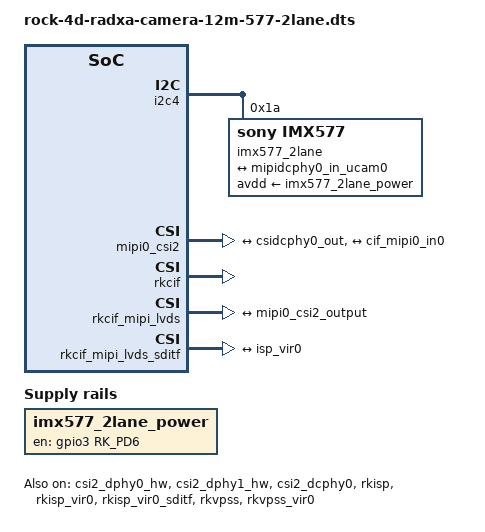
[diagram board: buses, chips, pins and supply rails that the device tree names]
/dts-v1/;
/plugin/;

#include <dt-bindings/power/rk3576-power.h>
#include <dt-bindings/gpio/gpio.h>
#include <dt-bindings/pinctrl/rockchip.h>

/ {
	metadata {
		title = "Enable Radxa Camera 12M 577 on 2-lane CSI (15-pin)";
		compatible = "radxa,rock-4d";
		category = "camera";
		exclusive = "GPIO3_D6", "csi2_dcphy0", "i2c4";
		description = "Enable Radxa Camera 12M 577 on 2-lane CSI (15-pin)";
	};
};

&{/} {
	imx577_2lane_power: imx577-2lane-power {
		compatible = "regulator-fixed";
		regulator-name = "imx577_2lane_power";
		startup-delay-us = <250000>;
		off-on-delay-us = <20000>;
		enable-active-high;
		gpio = <&gpio3 RK_PD6 GPIO_ACTIVE_HIGH>;
		pinctrl-names = "default";
		pinctrl-0 = <&imx577_2lane_power_pin>;
	};
};

&i2c4 {
	status = "okay";
	pinctrl-names = "default";
	pinctrl-0 = <&i2c4m3_xfer>;
	#address-cells = <1>;
	#size-cells = <0>;

	imx577_2lane: imx577@1a {
		status = "okay";
		compatible = "sony,imx577";
		reg = <0x1a>;
		power-domains = <&power RK3576_PD_VI>;
		avdd-supply = <&imx577_2lane_power>;
		rockchip,camera-module-index = <0>;
		rockchip,camera-module-facing = "back";
		rockchip,camera-module-name = "RADXA-CAMERA-12M";
		rockchip,camera-module-lens-name = "default";

		port {
			imx577_out0: endpoint {
				remote-endpoint = <&mipidcphy0_in_ucam0>;
				data-lanes = <1 2>;
			};
		};
	};
};

&csi2_dphy0_hw {
	status = "okay";
};

&csi2_dphy1_hw {
	status = "okay";
};

&csi2_dcphy0 {
	status = "okay";

	ports {
		#address-cells = <1>;
		#size-cells = <0>;

		port@0 {
			reg = <0>;
			#address-cells = <1>;
			#size-cells = <0>;

			mipidcphy0_in_ucam0: endpoint@2 {
				reg = <2>;
				remote-endpoint = <&imx577_out0>;
				data-lanes = <1 2>;
			};
		};

		port@1 {
			reg = <1>;
			#address-cells = <1>;
			#size-cells = <0>;

			csidcphy0_out: endpoint@0 {
				reg = <0>;
				remote-endpoint = <&mipi0_csi2_input>;
			};
		};
	};
};

&mipi0_csi2 {
	status = "okay";

	ports {
		#address-cells = <1>;
		#size-cells = <0>;

		port@0 {
			reg = <0>;
			#address-cells = <1>;
			#size-cells = <0>;

			mipi0_csi2_input: endpoint@1 {
				reg = <1>;
				remote-endpoint = <&csidcphy0_out>;
			};
		};

		port@1 {
			reg = <1>;
			#address-cells = <1>;
			#size-cells = <0>;

			mipi0_csi2_output: endpoint@0 {
				reg = <0>;
				remote-endpoint = <&cif_mipi0_in0>;
			};
		};
	};
};

&rkcif {
	status = "okay";
};

&rkcif_mmu {
	status = "okay";
};

&rkcif_mipi_lvds {
	status = "okay";

	port {
		cif_mipi0_in0: endpoint {
			remote-endpoint = <&mipi0_csi2_output>;
		};
	};
};

&rkcif_mipi_lvds_sditf {
	status = "okay";

	port {
		mipi_lvds_sditf: endpoint {
			remote-endpoint = <&isp_vir0>;
		};
	};
};

&rkisp {
	status = "okay";
};

&rkisp_mmu {
	status = "okay";
};

&rkisp_vir0 {
	status = "okay";

	port {
		#address-cells = <1>;
		#size-cells = <0>;

		isp_vir0: endpoint@0 {
			reg = <0>;
			remote-endpoint = <&mipi_lvds_sditf>;
		};
	};
};

&rkisp_vir0_sditf {
	status = "okay";
};

&rkvpss {
	status = "okay";
};

&rkvpss_mmu {
	status = "okay";
};

&rkvpss_vir0 {
	status = "okay";
};

&i2c4m3_xfer {
	rockchip,pins =
		<3 RK_PC0 11 &pcfg_pull_up_drv_level_3>,
		<3 RK_PB7 11 &pcfg_pull_up_drv_level_3>;
};

&pinctrl {
	camera {
		imx577_2lane_power_pin: imx577-2lane-power-pin {
			rockchip,pins = <3 RK_PD6 RK_FUNC_GPIO &pcfg_pull_up>;
		};
	};
};
